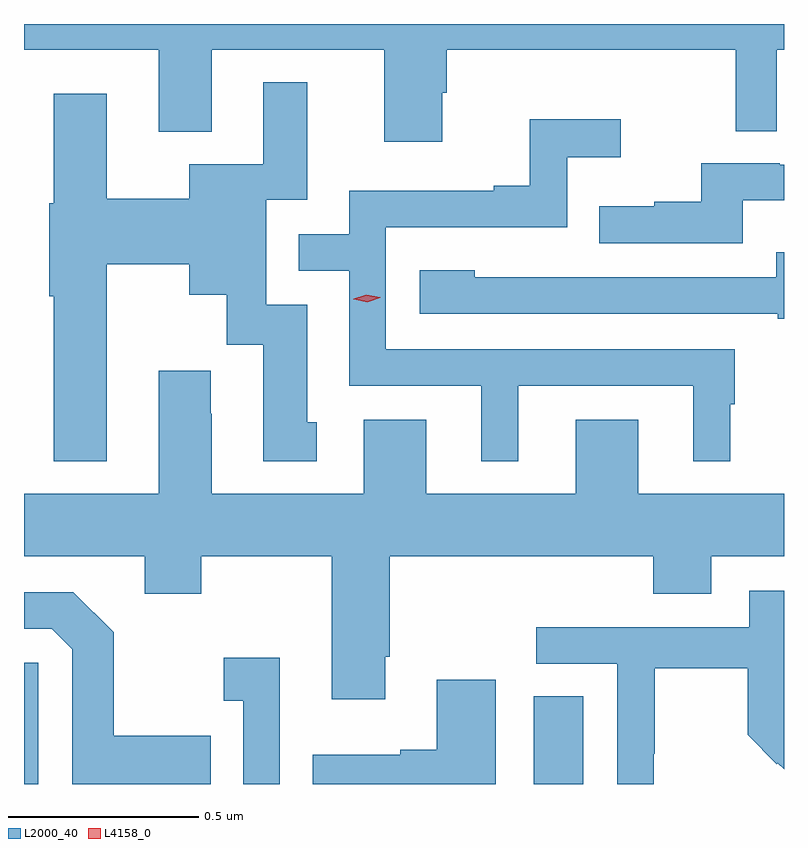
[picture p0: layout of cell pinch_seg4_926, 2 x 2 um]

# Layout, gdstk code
import gdstk
lib = gdstk.Library(unit=1e-6, precision=1e-09)
def R(c, l, rs):  # rectangles x0, y0, x1, y1
    for r in rs: c.add(gdstk.rectangle(r[:2], r[2:], *l))
def P(c, l, *ps):  # polygons
    for p in ps: c.add(gdstk.Polygon(p, *l))
L2000_40 = (2000, 40)
L4158_0 = (4158, 0)

pinch_seg4_926 = lib.new_cell('pinch_seg4_926')
R(pinch_seg4_926, L2000_40, [(744.773,812.204,744.81,812.523), (746.114,812.204,746.245,812.435)])
P(pinch_seg4_926, L2000_40, [(745.873,814.023),(745.886,814.023),(745.886,814.136),(746.646,814.136),(746.646,813.922),(746.754,813.922),(746.754,814.136),(746.773,814.136),(746.773,814.204),(744.773,814.204),(744.773,814.136),(745.127,814.136),(745.127,813.92),(745.267,813.92),(745.267,814.136),(745.721,814.136),(745.721,813.894),(745.873,813.894)],
  [(744.991,813.572),(745.208,813.572),(745.208,813.491),(745.307,813.491),(745.307,813.36),(745.403,813.36),(745.403,813.054),(745.543,813.054),(745.543,813.156),(745.519,813.156),(745.519,813.465),(745.41,813.465),(745.41,813.741),(745.519,813.741),(745.519,814.051),(745.403,814.051),(745.403,813.835),(745.208,813.835),(745.208,813.744),(744.991,813.744),(744.991,814.021),(744.851,814.021),(744.851,813.732),(744.839,813.732),(744.839,813.488),(744.851,813.488),(744.851,813.053),(744.991,813.053)],
  [(746.074,813.252),(746.534,813.252),(746.534,813.053),(746.632,813.053),(746.632,813.204),(746.644,813.204),(746.644,813.348),(745.725,813.348),(745.725,813.669),(746.202,813.669),(746.202,813.854),(746.344,813.854),(746.344,813.953),(746.104,813.953),(746.104,813.778),(746.009,813.778),(746.009,813.765),(745.629,813.765),(745.629,813.651),(745.496,813.651),(745.496,813.555),(745.629,813.555),(745.629,813.252),(745.976,813.252),(745.976,813.053),(746.074,813.053)],
  [(746.665,813.74),(746.773,813.74),(746.773,813.834),(746.762,813.834),(746.762,813.837),(746.555,813.837),(746.555,813.736),(746.431,813.736),(746.431,813.724),(746.287,813.724),(746.287,813.627),(746.665,813.627)],
  [(746.773,813.604),(746.753,813.604),(746.753,813.537),(746.195,813.537),(746.195,813.538),(745.959,813.538),(745.959,813.556),(745.815,813.556),(745.815,813.441),(746.757,813.441),(746.757,813.429),(746.773,813.429)],
  [(745.723,812.539),(745.736,812.539),(745.736,812.804),(746.429,812.804),(746.429,812.705),(746.581,812.705),(746.581,812.804),(746.773,812.804),(746.773,812.968),(746.389,812.968),(746.389,813.163),(746.225,813.163),(746.225,812.968),(745.831,812.968),(745.831,813.163),(745.667,813.163),(745.667,812.968),(745.267,812.968),(745.267,813.179),(745.264,813.179),(745.264,813.292),(745.127,813.292),(745.127,812.968),(744.773,812.968),(744.773,812.804),(745.091,812.804),(745.091,812.705),(745.239,812.705),(745.239,812.804),(745.583,812.804),(745.583,812.427),(745.723,812.427)],
  [(746.43,812.284),(746.433,812.284),(746.433,812.508),(746.677,812.508),(746.677,812.333),(746.754,812.256),(746.757,812.259),(746.773,812.243),(746.773,812.713),(746.682,812.713),(746.682,812.616),(746.121,812.616),(746.121,812.52),(746.334,812.52),(746.334,812.204),(746.43,812.204)],
  [(745.265,812.331),(745.009,812.331),(745.009,812.603),(744.903,812.709),(744.773,812.709),(744.773,812.613),(744.846,812.613),(744.9,812.559),(744.9,812.204),(745.265,812.204)],
  [(745.446,812.536),(745.299,812.536),(745.299,812.423),(745.35,812.423),(745.35,812.204),(745.446,812.204)],
  [(746.014,812.479),(745.859,812.479),(745.859,812.294),(745.763,812.294),(745.763,812.281),(745.533,812.281),(745.533,812.204),(746.014,812.204)])
P(pinch_seg4_926, L4158_0, [(745.676,813.472),(745.641,813.48),(745.64,813.48),(745.641,813.481),(745.674,813.492),(745.71,813.485),(745.71,813.484),(745.71,813.484)])

lib.write_gds('pinch_seg4_926.gds')
